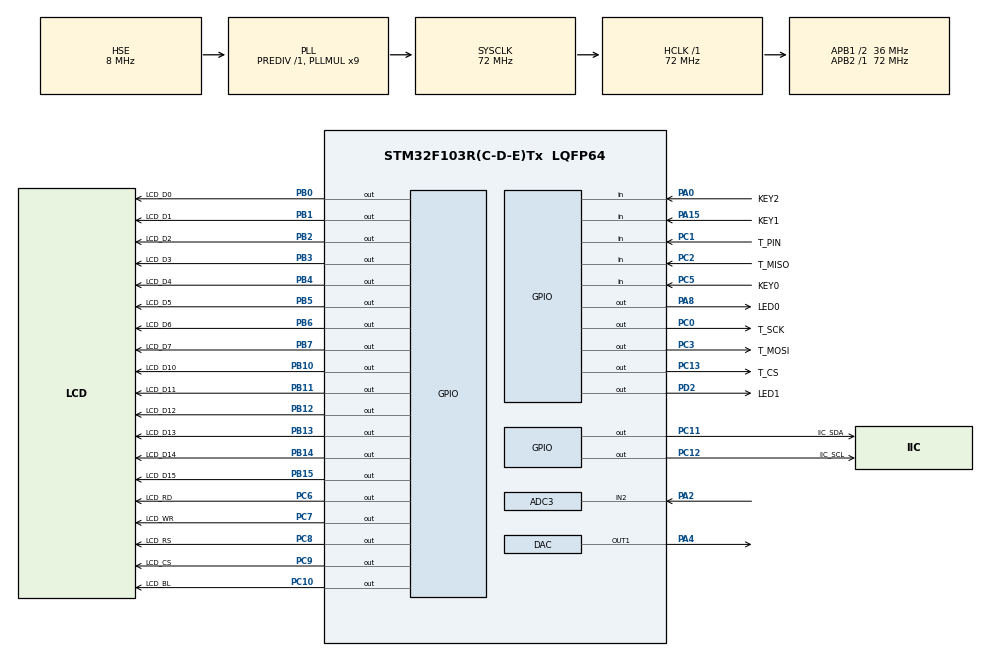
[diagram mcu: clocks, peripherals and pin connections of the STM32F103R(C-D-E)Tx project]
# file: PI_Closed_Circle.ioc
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ADC3.Channel-2\#ChannelRegularConversion=ADC_CHANNEL_2
ADC3.ContinuousConvMode=DISABLE
ADC3.DataAlign=ADC_DATAALIGN_RIGHT
ADC3.ExternalTrigConv=ADC_EXTERNALTRIGCONV_T3_CC1
ADC3.NbrOfConversion=1
ADC3.NbrOfConversionFlag=1
ADC3.Rank-2\#ChannelRegularConversion=1
ADC3.SamplingTime-2\#ChannelRegularConversion=ADC_SAMPLETIME_239CYCLES_5
DAC.DAC_OutputBuffer=DAC_OUTPUTBUFFER_DISABLE
DAC.DAC_Trigger=DAC_TRIGGER_T7_TRGO
Dma.ADC3.1.Direction=DMA_PERIPH_TO_MEMORY
Dma.ADC3.1.Instance=DMA2_Channel5
Dma.ADC3.1.MemDataAlignment=DMA_MDATAALIGN_HALFWORD
Dma.ADC3.1.MemInc=DMA_MINC_ENABLE
Dma.ADC3.1.Mode=DMA_CIRCULAR
Dma.ADC3.1.PeriphDataAlignment=DMA_PDATAALIGN_HALFWORD
Dma.ADC3.1.PeriphInc=DMA_PINC_DISABLE
Dma.ADC3.1.Priority=DMA_PRIORITY_LOW
Dma.DAC_CH1.0.Direction=DMA_MEMORY_TO_PERIPH
Dma.DAC_CH1.0.Instance=DMA2_Channel3
Dma.DAC_CH1.0.MemDataAlignment=DMA_MDATAALIGN_HALFWORD
Dma.DAC_CH1.0.MemInc=DMA_MINC_ENABLE
Dma.DAC_CH1.0.Mode=DMA_CIRCULAR
Dma.DAC_CH1.0.PeriphDataAlignment=DMA_PDATAALIGN_HALFWORD
Dma.DAC_CH1.0.PeriphInc=DMA_PINC_DISABLE
Dma.DAC_CH1.0.Priority=DMA_PRIORITY_LOW
Dma.Request0=DAC_CH1
Dma.Request1=ADC3
Mcu.Family=STM32F1
Mcu.Name=STM32F103R(C-D-E)Tx
Mcu.Package=LQFP64
NVIC.DMA2_Channel3_IRQn=true\:0\:0\:false\:false\:true\:false\:true
NVIC.DMA2_Channel4_5_IRQn=true\:0\:0\:false\:false\:true\:false\:true
NVIC.PriorityGroup=NVIC_PRIORITYGROUP_4
PA0-WKUP.GPIO_Label=KEY2
PA0-WKUP.GPIO_PuPd=GPIO_PULLDOWN
PA0-WKUP.Signal=GPIO_Input
PA13.Mode=Serial_Wire
PA13.Signal=SYS_JTMS-SWDIO
PA14.Mode=Serial_Wire
PA14.Signal=SYS_JTCK-SWCLK
PA15.GPIO_Label=KEY1
PA15.GPIO_PuPd=GPIO_PULLUP
PA15.Signal=GPIO_Input
PA2.Signal=ADCx_IN2
PA4.Signal=COMP_DAC1_group
PA8.GPIO_Label=LED0
PA8.GPIO_PuPd=GPIO_PULLUP
PA8.GPIO_Speed=GPIO_SPEED_FREQ_HIGH
PA8.PinState=GPIO_PIN_SET
PA8.Signal=GPIO_Output
PB0.GPIO_Label=LCD_D0
PB0.GPIO_PuPd=GPIO_PULLUP
PB0.GPIO_Speed=GPIO_SPEED_FREQ_HIGH
PB0.Signal=GPIO_Output
PB1.GPIO_Label=LCD_D1
PB1.GPIO_PuPd=GPIO_PULLUP
PB1.GPIO_Speed=GPIO_SPEED_FREQ_HIGH
PB1.Signal=GPIO_Output
PB10.GPIO_Label=LCD_D10
PB10.GPIO_PuPd=GPIO_PULLUP
PB10.GPIO_Speed=GPIO_SPEED_FREQ_HIGH
PB10.Signal=GPIO_Output
PB11.GPIO_Label=LCD_D11
PB11.GPIO_PuPd=GPIO_PULLUP
PB11.GPIO_Speed=GPIO_SPEED_FREQ_HIGH
PB11.Signal=GPIO_Output
PB12.GPIO_Label=LCD_D12
PB12.GPIO_PuPd=GPIO_PULLUP
PB12.GPIO_Speed=GPIO_SPEED_FREQ_HIGH
PB12.Signal=GPIO_Output
PB13.GPIO_Label=LCD_D13
PB13.GPIO_PuPd=GPIO_PULLUP
PB13.GPIO_Speed=GPIO_SPEED_FREQ_HIGH
PB13.Signal=GPIO_Output
PB14.GPIO_Label=LCD_D14
PB14.GPIO_PuPd=GPIO_PULLUP
PB14.GPIO_Speed=GPIO_SPEED_FREQ_HIGH
PB14.Signal=GPIO_Output
PB15.GPIO_Label=LCD_D15
PB15.GPIO_PuPd=GPIO_PULLUP
PB15.GPIO_Speed=GPIO_SPEED_FREQ_HIGH
PB15.Signal=GPIO_Output
PB2.GPIO_Label=LCD_D2
PB2.GPIO_PuPd=GPIO_PULLUP
PB2.GPIO_Speed=GPIO_SPEED_FREQ_HIGH
PB2.Signal=GPIO_Output
PB3.GPIO_Label=LCD_D3
PB3.GPIO_PuPd=GPIO_PULLUP
PB3.GPIO_Speed=GPIO_SPEED_FREQ_HIGH
PB3.Signal=GPIO_Output
PB4.GPIO_Label=LCD_D4
PB4.GPIO_PuPd=GPIO_PULLUP
PB4.GPIO_Speed=GPIO_SPEED_FREQ_HIGH
PB4.Signal=GPIO_Output
PB5.GPIO_Label=LCD_D5
PB5.GPIO_PuPd=GPIO_PULLUP
PB5.GPIO_Speed=GPIO_SPEED_FREQ_HIGH
PB5.Signal=GPIO_Output
PB6.GPIO_Label=LCD_D6
PB6.GPIO_PuPd=GPIO_PULLUP
PB6.GPIO_Speed=GPIO_SPEED_FREQ_HIGH
PB6.Signal=GPIO_Output
PB7.GPIO_Label=LCD_D7
PB7.GPIO_PuPd=GPIO_PULLUP
PB7.GPIO_Speed=GPIO_SPEED_FREQ_HIGH
PB7.Signal=GPIO_Output
PC0.GPIO_Label=T_SCK
PC0.GPIO_PuPd=GPIO_PULLUP
PC0.GPIO_Speed=GPIO_SPEED_FREQ_HIGH
PC0.Signal=GPIO_Output
PC1.GPIO_Label=T_PIN
PC1.GPIO_PuPd=GPIO_PULLUP
PC1.Signal=GPIO_Input
PC10.GPIO_Label=LCD_BL
PC10.GPIO_PuPd=GPIO_PULLUP
PC10.GPIO_Speed=GPIO_SPEED_FREQ_HIGH
PC10.Signal=GPIO_Output
PC11.GPIO_Label=IIC_SDA
PC11.GPIO_PuPd=GPIO_PULLUP
PC11.GPIO_Speed=GPIO_SPEED_FREQ_HIGH
PC11.Signal=GPIO_Output
PC12.GPIO_Label=IIC_SCL
PC12.GPIO_PuPd=GPIO_PULLUP
PC12.GPIO_Speed=GPIO_SPEED_FREQ_HIGH
PC12.Signal=GPIO_Output
PC13-TAMPER-RTC.GPIO_Label=T_CS
PC13-TAMPER-RTC.GPIO_PuPd=GPIO_PULLUP
PC13-TAMPER-RTC.GPIO_Speed=GPIO_SPEED_FREQ_HIGH
PC13-TAMPER-RTC.Signal=GPIO_Output
PC2.GPIO_Label=T_MISO
PC2.GPIO_PuPd=GPIO_PULLUP
PC2.Signal=GPIO_Input
PC3.GPIO_Label=T_MOSI
PC3.GPIO_PuPd=GPIO_PULLUP
PC3.GPIO_Speed=GPIO_SPEED_FREQ_HIGH
PC3.Signal=GPIO_Output
PC5.GPIO_Label=KEY0
PC5.GPIO_PuPd=GPIO_PULLUP
PC5.Signal=GPIO_Input
PC6.GPIO_Label=LCD_RD
PC6.GPIO_PuPd=GPIO_PULLUP
PC6.GPIO_Speed=GPIO_SPEED_FREQ_HIGH
PC6.Signal=GPIO_Output
PC7.GPIO_Label=LCD_WR
PC7.GPIO_PuPd=GPIO_PULLUP
PC7.GPIO_Speed=GPIO_SPEED_FREQ_HIGH
PC7.Signal=GPIO_Output
PC8.GPIO_Label=LCD_RS
PC8.GPIO_PuPd=GPIO_PULLUP
PC8.GPIO_Speed=GPIO_SPEED_FREQ_HIGH
PC8.Signal=GPIO_Output
PC9.GPIO_Label=LCD_CS
PC9.GPIO_PuPd=GPIO_PULLUP
PC9.GPIO_Speed=GPIO_SPEED_FREQ_HIGH
PC9.Signal=GPIO_Output
PD0-OSC_IN.Mode=HSE-External-Oscillator
PD0-OSC_IN.Signal=RCC_OSC_IN
PD1-OSC_OUT.Mode=HSE-External-Oscillator
PD1-OSC_OUT.Signal=RCC_OSC_OUT
PD2.GPIO_Label=LED1
PD2.GPIO_PuPd=GPIO_PULLUP
PD2.GPIO_Speed=GPIO_SPEED_FREQ_HIGH
PD2.PinState=GPIO_PIN_SET
PD2.Signal=GPIO_Output
ProjectManager.HeapSize=0x200
ProjectManager.StackSize=0x400
ProjectManager.TargetToolchain=MDK-ARM V5.32
RCC.ADCPresc=RCC_ADCPCLK2_DIV6
RCC.AHBFreq_Value=72000000
RCC.APB1CLKDivider=RCC_HCLK_DIV2
RCC.APB1Freq_Value=36000000
RCC.APB1TimFreq_Value=72000000
RCC.APB2Freq_Value=72000000
RCC.APB2TimFreq_Value=72000000
RCC.HCLKFreq_Value=72000000
RCC.PLLMUL=RCC_PLL_MUL9
RCC.PLLSourceVirtual=RCC_PLLSOURCE_HSE
RCC.SYSCLKFreq_VALUE=72000000
RCC.SYSCLKSource=RCC_SYSCLKSOURCE_PLLCLK
RCC.USBFreq_Value=72000000
SH.ADCx_IN2.0=ADC3_IN2,IN2
SH.COMP_DAC1_group.0=DAC_OUT1,DAC_OUT1
TIM3.Channel-PWM\ Generation1\ No\ Output=TIM_CHANNEL_1
TIM3.OCPolarity_1=TIM_OCPOLARITY_HIGH
TIM3.Period=71
TIM3.Prescaler=20
TIM3.Pulse-PWM\ Generation1\ No\ Output=36
TIM7.AutoReloadPreload=TIM_AUTORELOAD_PRELOAD_ENABLE
TIM7.Period=1199
TIM7.Prescaler=11
TIM7.TIM_MasterOutputTrigger=TIM_TRGO_UPDATE
VP_TIM3_VS_no_output1.Mode=PWM Generation1 No Output
VP_TIM7_VS_ClockSourceINT.Mode=Enable_Timer
board=custom

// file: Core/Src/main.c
/* USER CODE BEGIN Header */
/**
  ******************************************************************************
  * @file           : main.c
  * @brief          : Main program body
  ******************************************************************************
  * @attention
  *
  * <h2><center>&copy; Copyright (c) 2021 STMicroelectronics.
  * All rights reserved.</center></h2>
  *
  * This software component is licensed by ST under BSD 3-Clause license,
  * the "License"; You may not use this file except in compliance with the
  * License. You may obtain a copy of the License at:
  *                        opensource.org/licenses/BSD-3-Clause
  *
  ******************************************************************************
  */
/* USER CODE END Header */
#include "main.h"
#include "adc.h"
#include "dac.h"
#include "dma.h"
#include "tim.h"
#include "gpio.h"

/* USER CODE BEGIN Includes */
#include "base.h"
#include "lcd.h"
#include "24cxx.h"
#include "touch.h"
#include "math.h"
#include "stm32_dsp.h"
#include "table_fft.h"
#include "fft.h"
/* USER CODE END Includes */

/* USER CODE BEGIN PD */
void Set_DAC(float v);
void DAC1_Set_Vol(u16 vol);
void SineWave_Data( u16 num,uint32_t *D,float U);
void Key_staset(u16 x,u16 y,u8 keyx,u8 sta);//触摸屏按键捕获状态函数
u8 Get_key(u16 x,u16 y);					//触摸屏按键获取函数
void Function(void);							//功能实现
void UI(void);									//界面
/* USER CODE END PD */

/* USER CODE BEGIN PM */
#define PI 3.14159265358979
/* USER CODE END PM */

/* USER CODE BEGIN PV */
u8 KEY=0;
u8 KEY_TOUCH=0;

u16 ADC_value[NPT];
u16 ADC_value_convert[NPT];
int ADC_value_convert_c[NPT];
int ADC_value_self[NPT];
int i;
u16 j;
u16 Max_Val=0;
u16 Row;					//行，数组定位
u16 Freq;					//频率
uint32_t AD_Total=0;		//ADC的单次DMA采集信号总和
uint32_t AD_Ave;			//AD采集平均值
uint32_t AD_Peak;			//AD采集最大值
uint32_t AD_Peak_D;			//AD采集最小值
uint32_t AD_P_to_P;			//AD采集峰峰值
uint32_t AD_Peak_up;		//AD采集正幅值
uint32_t AD_DcCom;			//AD采集信号直流分量
uint32_t AD_RMS;			//AD采集RMS
int Count=0;
float Vpp_Rate;

uint32_t x=0;
float temp;

//u16 sinx[100]={2080,2209,2337,2463,2588,2711,2832,2949,3063,3172,3278,3378,3473,3563,3646,3723,
//3794,3858,3914,3964,4005,4039,4065,4083,4093,4095,4089,4075,4053,4023,3985,3940,
//3887,3827,3760,3686,3605,3519,3426,3328,3225,3118,3006,2891,2772,2650,2526,2400,
//2273,2144,2016,1887,1759,1633,1508,1385,1264,1147,1033,924,818,718,623,533,
//450,373,302,238,182,132,91,57,31,13,3,1,7,21,43,73,
//111,156,209,269,336,410,491,577,670,768,871,978,1090,1205,1324,1446,
//1570,1696,1823,1952};
u16 sinx[50]={2048,2305,2557,2802,3034,3251,3449,3625,3776,3900,3995,4059,4091,4091,4059,3995,
3900,3776,3625,3449,3251,3034,2802,2557,2305,2048,1791,1539,1294,1062,845,647,
471,320,196,101,37,5,5,37,101,196,320,471,647,845,1062,1294,
1539,1791};
int Sin_Flag=1;
int Sin_Psc[4]={23,23,23,1};
int Sin_Crr[4]={1199,119,11,1};

float rate;
int PSC=11,ARR;
short sinXX[100]={0,129,257,384,509,633,754,872,987,1097,1204,1305,1402,1493,1578,1657,
1729,1795,1853,1904,1948,1984,2012,2032,2044,2046,2044,2032,2012,1984,1948,1904,
1853,1795,1729,1657,1578,1493,1402,1305,1204,1097,987,872,754,633,509,384,
257,129,0,-129,-257,-384,-509,-633,-754,-872,-987,-1097,-1204,-1305,-1402,-1493,
-1578,-1657,-1729,-1795,-1853,-1904,-1948,-1984,-2012,-2032,-2044,-2046,-2044,-2032,-2012,-1984,
-1948,-1904,-1853,-1795,-1729,-1657,-1578,-1493,-1402,-1305,-1204,-1097,-987,-872,-754,-633,
-509,-384,-257,-129};
u16 sin_convert[100];

int Square[100]={2046,2046,2046,2046,2046,2046,2046,2046,2046,2046,
	2046,2046,2046,2046,2046,2046,2046,2046,2046,2046,
	2046,2046,2046,2046,2046,2046,2046,2046,2046,2046,
	2046,2046,2046,2046,2046,2046,2046,2046,2046,2046,
	2046,2046,2046,2046,2046,2046,2046,2046,2046,2046,
	-2046,-2046,-2046,-2046,-2046,-2046,-2046,-2046,-2046,-2046,
	-2046,-2046,-2046,-2046,-2046,-2046,-2046,-2046,-2046,-2046,
	-2046,-2046,-2046,-2046,-2046,-2046,-2046,-2046,-2046,-2046,
	-2046,-2046,-2046,-2046,-2046,-2046,-2046,-2046,-2046,-2046,
	-2046,-2046,-2046,-2046,-2046,-2046,-2046,-2046,-2046,-2046,};
u16 Square_convert[100];

int Triangle[100]={-2046,-1967,-1886,-1805,-1724,-1643,-1562,-1481,
	-1400,-1319,-1238,-1157,-1076,-995,-914,-833,-752,-671,-590,
	-509,-428,-347,-266,-185,-104,-23,58,139,220,301,382,463,
	544,625,706,787,868,949,1030,1111,1192,1273,1354,1435,1516,
	1597,1678,1759,1840,1921,204,1967,1886,1805,1724,1643,
	1562,1481,1400,1319,1238,1157,1076,995,914,833,752,671,
	590,509,428,347,266,185,104,23,-58,-139,-220,-301,-382,
	-463,-544,-625,-706,-787,-868,-949,-1030,-1111,-1192,
-1273,-1354,-1435,-1516,-1597,-1678,-1759,-1840,-1921};
u16 Triangle_convert[100];

int Jag[100]={-2048,-2007,-1966,-1925,-1884,-1843,-1802,-1761,-1720,
	-1679,-1638,-1597,-1556,-1515,-1474,-1433,-1392,
	-1351,-1310,-1269,-1228,-1187,-1146,-1105,-1064,
	-1023,-982,-941,-900,-859,-818,-777,-736,-695,
	-654,-613,-572,-531,-490,-449,-408,-367,-326,
	-285,-244,-203,-162,-121,-80,-39,2,43,84,125,
	166,207,248,289,330,371,412,453,494,535,576,
	617,658,699,740,781,822,863,904,945,986,1027,
	1068,1109,1150,1191,1232,1273,1314,1355,1396,
	1437,1478,1519,1560,1601,1642,1683,1724,1765,1806,
	1847,1888,1929,1970,2011};
u16 Jag_convert[100];
/* USER CODE END PV */

void SystemClock_Config(void);

int main(void)
{

  /* MCU Configuration--------------------------------------------------------*/

  /* Reset of all peripherals, Initializes the Flash interface and the Systick. */
  HAL_Init();

  /* Configure the system clock */
  SystemClock_Config();

  /* Initialize all configured peripherals */
  MX_GPIO_Init();
  MX_DMA_Init();
  MX_DAC_Init();
  MX_ADC3_Init();
  MX_TIM3_Init();
  MX_TIM7_Init();
  /* USER CODE BEGIN 2 */
  delay_init(72);
  LCD_Init();							//LCD屏初始化
  tp_dev.init();				   		//触摸屏初始化

  HAL_TIM_Base_Start(&htim7);
  HAL_ADC_Start_DMA(&hadc3,(uint32_t*)&ADC_value,NPT);					//开启ADC3的DMA通道
  HAL_DAC_Start_DMA(&hdac,DAC1_CHANNEL_1,(uint32_t*)sinx,50,DAC_ALIGN_12B_R);		//开启DAC通道1的DMA
  HAL_TIM_Base_Start(&htim3);
  HAL_TIM_PWM_Start(&htim3,TIM_CHANNEL_1);

  UI();

  HAL_DAC_SetValue(&hdac,DAC_CHANNEL_1,DAC_ALIGN_12B_R,2048);		//设置DA初始值为0
  AD_Peak=ADC_value[0];
  AD_Peak_D=ADC_value[0];
  /* USER CODE END 2 */

  /* Infinite loop */
  while (1)
  {

    /* USER CODE BEGIN 3 */
	  Function();
  }
  /* USER CODE END 3 */
}

void SystemClock_Config(void)
{
  RCC_OscInitTypeDef RCC_OscInitStruct = {0};
  RCC_ClkInitTypeDef RCC_ClkInitStruct = {0};
  RCC_PeriphCLKInitTypeDef PeriphClkInit = {0};

  /** Initializes the RCC Oscillators according to the specified parameters
  * in the RCC_OscInitTypeDef structure.
  */
  RCC_OscInitStruct.OscillatorType = RCC_OSCILLATORTYPE_HSE;
  RCC_OscInitStruct.HSEState = RCC_HSE_ON;
  RCC_OscInitStruct.HSEPredivValue = RCC_HSE_PREDIV_DIV1;
  RCC_OscInitStruct.HSIState = RCC_HSI_ON;
  RCC_OscInitStruct.PLL.PLLState = RCC_PLL_ON;
  RCC_OscInitStruct.PLL.PLLSource = RCC_PLLSOURCE_HSE;
  RCC_OscInitStruct.PLL.PLLMUL = RCC_PLL_MUL9;
  if (HAL_RCC_OscConfig(&RCC_OscInitStruct) != HAL_OK)
  {
    Error_Handler();
  }
  /** Initializes the CPU, AHB and APB buses clocks
  */
  RCC_ClkInitStruct.ClockType = RCC_CLOCKTYPE_HCLK|RCC_CLOCKTYPE_SYSCLK
                              |RCC_CLOCKTYPE_PCLK1|RCC_CLOCKTYPE_PCLK2;
  RCC_ClkInitStruct.SYSCLKSource = RCC_SYSCLKSOURCE_PLLCLK;
  RCC_ClkInitStruct.AHBCLKDivider = RCC_SYSCLK_DIV1;
  RCC_ClkInitStruct.APB1CLKDivider = RCC_HCLK_DIV2;
  RCC_ClkInitStruct.APB2CLKDivider = RCC_HCLK_DIV1;

  if (HAL_RCC_ClockConfig(&RCC_ClkInitStruct, FLASH_LATENCY_2) != HAL_OK)
  {
    Error_Handler();
  }
  PeriphClkInit.PeriphClockSelection = RCC_PERIPHCLK_ADC;
  PeriphClkInit.AdcClockSelection = RCC_ADCPCLK2_DIV6;
  if (HAL_RCCEx_PeriphCLKConfig(&PeriphClkInit) != HAL_OK)
  {
    Error_Handler();
  }
}

/* USER CODE BEGIN 4 */
void Function(void)
{
	KEY=KEY_Scan(0);
	KEY_TOUCH=Get_key(0,160);
	if(KEY==KEY0_PRES||KEY_TOUCH==7)			//改变正弦波频率
	{
		_LED0=!_LED0;
		HAL_DAC_Stop_DMA(&hdac,DAC1_CHANNEL_1);
		HAL_DAC_Start_DMA(&hdac,DAC1_CHANNEL_1,(uint32_t*)sinx,50,DAC_ALIGN_12B_R);		//开启DAC通道1的DMA
		__HAL_TIM_SET_PRESCALER(&htim7,Sin_Psc[Sin_Flag]);
		__HAL_TIM_SET_AUTORELOAD(&htim7,Sin_Crr[Sin_Flag]);
		Sin_Flag++;
		if(Sin_Flag==4)
			Sin_Flag=0;
	}
	for(i=0,AD_Total=0;i<NPT;i++)
	{
		if(AD_Peak<ADC_value[i])
			AD_Peak=ADC_value[i];						//求出波形峰最大值
		AD_Total+=ADC_value[i];
	}
	for(i=0;i<NPT;i++)
	{
		if(AD_Peak>ADC_value[i])
			AD_Peak_D=ADC_value[i];
	}
	AD_P_to_P=AD_Peak-AD_Peak_D;						//AD采集电压峰峰值
	AD_Ave=AD_Total/1024;								//AD采集电压平均值
	AD_Peak_up=AD_Peak-2048;							//AD采集电压峰值
//	for(i=0,AD_Total=0;i<NPT;i++)
//	{
//		lBufInArray[i]=ADC_value[i]<<16;
//	}
	for(j=2;j<NPT/2;j++)								//测量AD采集波形频率
	{
		if(lBufMagArray[j]>Max_Val)
		{
			Max_Val=lBufMagArray[j];
			Row=j;
		}
	}
	Freq=10000.0*Row/1024;

	cr4_fft_1024_stm32(lBufOutArray, lBufInArray, NPT);
	GetPowerMag();							//计算各次谐波幅值

////*********波形DA输出****************
	if(KEY==WKUP_PRES||KEY_TOUCH==6)					//波形输出
	{
		HAL_DAC_Stop_DMA(&hdac,DAC1_CHANNEL_1);
		__HAL_TIM_SET_PRESCALER(&htim7,23);
		__HAL_TIM_SET_AUTORELOAD(&htim7,299);
		HAL_DAC_Start_DMA(&hdac,DAC1_CHANNEL_1,(uint32_t*)ADC_value,NPT,DAC_ALIGN_12B_R);
	}
////************************************
//***********Vpp放大缩小/自适应*********
	if(KEY_TOUCH==1)				//Vpp放大5倍
	{
		Vpp_Rate=AD_Peak_up*1000/2048;
		if(Vpp_Rate/1000<=0.2)
		{
			HAL_DAC_Stop_DMA(&hdac,DAC1_CHANNEL_1);
			for(i=0;i<NPT;i++)
				ADC_value_convert_c[i]=ADC_value[i];
			for(i=0;i<NPT;i++)
				ADC_value_convert_c[i]=(ADC_value_convert_c[i]-2047)*5+2047;
			for(i=0;i<NPT;i++)
				ADC_value_convert[i]=ADC_value_convert_c[i];
			HAL_DAC_Start_DMA(&hdac,DAC1_CHANNEL_1,(uint32_t*)ADC_value_convert,NPT,DAC_ALIGN_12B_R);
			LCD_ShowString(20,80,300,16,16,"Vpp_amplificate 5   ");
		}
		else
			LCD_ShowString(20,80,300,16,16,"Can't amplificate 5   ");
	}
	else if(KEY_TOUCH==2)			//Vpp放大10倍
	{
		Vpp_Rate=AD_Peak_up*1000/2048;
		if(Vpp_Rate/1000<=0.1)
		{
			HAL_DAC_Stop_DMA(&hdac,DAC1_CHANNEL_1);
			for(i=0;i<NPT;i++)
				ADC_value_convert_c[i]=ADC_value[i];
			for(i=0;i<NPT;i++)
				ADC_value_convert_c[i]=(ADC_value_convert_c[i]-2047)*10+2047;
			for(i=0;i<NPT;i++)
				ADC_value_convert[i]=ADC_value_convert_c[i];
			HAL_DAC_Start_DMA(&hdac,DAC1_CHANNEL_1,(uint32_t*)ADC_value_convert,NPT,DAC_ALIGN_12B_R);
			LCD_ShowString(20,80,300,16,16,"Vpp_amplificate 10   ");
		}
		else
			LCD_ShowString(20,80,300,16,16,"Can't amplificate 10");
	}
	else if(KEY_TOUCH==3)			//Vpp缩小5倍
	{
		Vpp_Rate=AD_Peak_up*1000/2048;
		if(Vpp_Rate/1000>=0.083)
		{
			HAL_DAC_Stop_DMA(&hdac,DAC1_CHANNEL_1);
			for(i=0;i<NPT;i++)
				ADC_value_convert_c[i]=ADC_value[i];
			for(i=0;i<NPT;i++)
				ADC_value_convert_c[i]=(ADC_value_convert_c[i]-2047)/5+2047;
			for(i=0;i<NPT;i++)
				ADC_value_convert[i]=ADC_value_convert_c[i];
			HAL_DAC_Start_DMA(&hdac,DAC1_CHANNEL_1,(uint32_t*)ADC_value_convert,NPT,DAC_ALIGN_12B_R);
			LCD_ShowString(20,80,300,16,16,"Vpp_narrow 5         ");
		}
		else
			LCD_ShowString(20,80,300,16,16,"Can't Vpp_narrow 5   ");

	}
	else if(KEY_TOUCH==4)			//Vpp缩小10倍
	{
		Vpp_Rate=AD_Peak_up*1000/2048;
		if(Vpp_Rate/1000>=0.167)
		{
			HAL_DAC_Stop_DMA(&hdac,DAC1_CHANNEL_1);
			for(i=0;i<NPT;i++)
				ADC_value_convert_c[i]=ADC_value[i];
			for(i=0;i<NPT;i++)
				ADC_value_convert_c[i]=(ADC_value_convert_c[i]-2047)/10+2047;
			for(i=0;i<NPT;i++)
				ADC_value_convert[i]=ADC_value_convert_c[i];
			HAL_DAC_Start_DMA(&hdac,DAC1_CHANNEL_1,(uint32_t*)ADC_value_convert,NPT,DAC_ALIGN_12B_R);
			LCD_ShowString(20,80,300,16,16,"Vpp_narrow 10       ");
		}
		else
			LCD_ShowString(20,80,300,16,16,"Can't Vpp_narrow 10  ");
	}
	else if(KEY_TOUCH==5)			//自适应
	{
		Vpp_Rate=AD_Peak_up*1000/2048*0.001;
		HAL_DAC_Stop_DMA(&hdac,DAC1_CHANNEL_1);
		for(i=0;i<NPT;i++)
			ADC_value_self[i]=ADC_value[i];
		for(i=0;i<NPT;i++)
			ADC_value_convert_c[i]=(ADC_value_self[i]-2047)*(1/Vpp_Rate)+2047;
		for(i=0;i<NPT;i++)
			ADC_value_convert[i]=ADC_value_convert_c[i];
		HAL_DAC_Start_DMA(&hdac,DAC1_CHANNEL_1,(uint32_t*)ADC_value_convert,NPT,DAC_ALIGN_12B_R);
		LCD_ShowString(20,80,300,16,16,"Self-Adaptation        ");
	}
//**************************************
//**********************************
//直流分量计算
	if(Wave==1)					//锯齿波
	{	AD_DcCom=2048;}
	else if(Wave==2)			//方波
	{	AD_DcCom=2048;	}
	else if(Wave==3)			//三角波
	{	AD_DcCom=2048;	}
	else if(Wave==4)			//正弦波
	{	AD_DcCom=2048;	}

	LCD_ShowxNum(50,20,(u32)Freq,4,16,0);
	LCD_ShowxNum(60,40,(u32)((AD_Peak-2048)*2*3.3/4096),1,16,0);
	LCD_ShowxNum(80,40,(u32)((AD_Peak-2048)*2*3300/4096%1000-100),3,16,0);
	LCD_ShowxNum(80,60,(u32)(AD_DcCom*3.3/4096),1,16,0);
	LCD_ShowxNum(100,60,(u32)(AD_DcCom*3300/4096%1000),3,16,0);

	x=HAL_DAC_GetValue(&hdac,DAC_CHANNEL_1);	//读取前面设置DAC的值
	LCD_ShowxNum(50,100,x,4,16,0);     	    	//显示DAC寄存器值
	temp=(float)x*(3.3/4096);			    	//得到DAC电压值
	x=temp;
	LCD_ShowxNum(60,120,temp,1,16,0);     	    //显示电压值整数部分
	temp-=x;
	temp*=1000;
	LCD_ShowxNum(80,120,temp,3,16,0X80); 	    //显示电压值的小数部分

	LCD_ShowxNum(60,140,(u32)(AD_Ave*3.3/4096),1,16,0);			//ADC采集电压整数部分
	LCD_ShowxNum(80,140,(u32)(AD_Ave*3300/4096%1000),3,16,0);	//ADC采集电压小数部分

	lcd_print_fft(lBufMagArray);			//波形识别cr4_fft_1024_stm32
  }
void UI(void)
{
	POINT_COLOR=BLUE;				//以下为LCD屏显示
	LCD_ShowString(20,00,200,16,16,"WaveForm:");
	LCD_ShowString(20,20,200,16,16,"Fre:");
	LCD_ShowString(85,20,200,16,16,"Hz");
	LCD_ShowString(20,40,200,16,16,"Peak:");
	LCD_ShowString(70,40,200,16,16,".");
	LCD_ShowString(110,40,200,16,16,"V");
	LCD_ShowString(20,60,200,16,16,"Dc_Com:");
	LCD_ShowString(90,60,30,16,16,".");
	LCD_ShowString(130,60,200,16,16,"V");

	LCD_ShowString(110,140,200,16,16,"V");
	LCD_ShowString(70,140,30,16,16,".");
	LCD_ShowString(12,140,200,16,16," ADC:");

	LCD_ShowString(20,100,200,16,16,"VAL:");
	LCD_ShowString(20,120,200,16,16,"DAC:");
	LCD_ShowString(70,120,30,16,16,".");
	LCD_ShowString(110,120,200,16,16,"V");

	LCD_DrawRectangle(0,160,60,240);
	LCD_DrawRectangle(60,160,120,240);
	LCD_DrawRectangle(120,160,180,240);
	LCD_DrawRectangle(180,160,240,240);
	LCD_DrawRectangle(0,240,60,320);
	LCD_DrawRectangle(60,240,120,320);
	LCD_DrawRectangle(120,240,180,320);
	LCD_DrawRectangle(180,240,240,320);
	LCD_ShowString(15,190,120,80,24,"5U");
	LCD_ShowString(75,190,120,80,24,"10U");
	LCD_ShowString(135,190,120,80,24,"5D");
	LCD_ShowString(195,190,120,80,24,"10D");
	LCD_ShowString(15,270,120,80,24,"S_A");
	LCD_ShowString(75,270,120,80,24,"Out");
	LCD_ShowString(135,270,120,80,24,"Sin");
	LCD_ShowString(195,270,120,80,24,"DDS");
}
//触摸屏按键捕获状态函数
void Key_staset(u16 x,u16 y,u8 keyx,u8 sta)
{
	u16 i=keyx/4,j=keyx%4;		//j:横轴|i:竖轴
	if(keyx>9) return;
	if(sta&&keyx!=9)
		LCD_Fill(x+j*60+1,y+i*80+1,x+j*60+59,y+i*80+79,BLUE);	//当区域被按下区域被填充为红色
	else if(keyx!=9)
		LCD_Fill(x+j*60+1,y+i*80+1,x+j*60+59,y+i*80+79,WHITE);

	if(keyx!=9)		//区域被填充后重新显示
	{
		LCD_ShowString(15,190,120,80,24,"5U");
		LCD_ShowString(75,190,120,80,24,"10U");
		LCD_ShowString(135,190,120,80,24,"5D");
		LCD_ShowString(195,190,120,80,24,"10D");
		LCD_ShowString(15,270,120,80,24,"S_A");
		LCD_ShowString(75,270,120,80,24,"Out");
		LCD_ShowString(135,270,120,80,24,"Sin");
		LCD_ShowString(195,270,120,80,24,"DDS");
	}
}
//触摸屏按键获取函数
u8 Get_key(u16 x,u16 y)
{
	u16 i,j;
	static u8 Key_x=0;
	u8 key=0;
	tp_dev.scan(0);		//触摸屏扫描
	if(tp_dev.sta&TP_PRES_DOWN)		//触摸屏被按下
	{
		for(i=0;i<2;i++)
		{
			for(j=0;j<4;j++)
			{
				if(tp_dev.x[0]<(x+j*60+60)&&tp_dev.x[0]>(x+j*60)&&tp_dev.y[0]<(y+i*80+80)&&tp_dev.y[0]>(y+i*80))
				{
					key=i*4+j+1;		//i代表行，每一行变化需要两个值j代表列，每一列变化只需要变化一个值
					break;
				}
			}
			if(key)
			{
				if(Key_x==key) key=0;
				else
				{
					Key_staset(x,y,Key_x-1,0);
					Key_x=key;
					Key_staset(x,y,Key_x-1,1);
				}
				break;
			}
		}
	}
	else if(Key_x)		//每次从0开始，不记录上次的状态
	{
		Key_staset(x,y,Key_x-1,0);
		Key_x=0;
	}
	return key;
}
void HAL_ADC_ConvCpltCallback(ADC_HandleTypeDef* hadc)
{
	if(hadc==&hadc3)
	{
//		HAL_ADC_Stop_DMA(&hadc3);
//		__HAL_ADC_CLEAR_FLAG(&hadc3, ADC_FLAG_STRT);		//清除ADC挂起的标志
		for(i=0,AD_Total=0;i<NPT;i++)
		{
			lBufInArray[i]=ADC_value[i]<<16;
		}
//		HAL_ADC_Start_DMA(&hadc3,(uint32_t*)&ADC_value,NPT);
	}
}
//num:要在一个正弦波中采集多少点
//*D:创建的一个数组用来存放正弦波各个点的数值的
//U:输出电压的峰值(0~1.5V)
//Pi:3.1415926 自己定义
void SineWave_Data( u16 num,uint32_t *D,float U)
{
    u16 i;
    for( i=0;i<num;i++)
    {
        D[i]=(uint32_t)((U*sin(( 1.0*i/(num-1))*2*PI)+U)*4095/3.3);
    }
}
void Set_DAC(float v)
{
	HAL_DAC_SetValue(&hdac,DAC_CHANNEL_1,DAC_ALIGN_12B_R,(uint32_t)(v*4096/3.3));
}

//设置通道1输出电压
//vol:0~3300,代表0~3.3V
void DAC1_Set_Vol(u16 vol)
{
	double temp=vol;
	temp/=1000;
	temp=temp*4096/3.3;
    HAL_DAC_SetValue(&hdac,DAC_CHANNEL_1,DAC_ALIGN_12B_R,temp);//12位右对齐数据格式设置DAC值
}
/* USER CODE END 4 */

void Error_Handler(void)
{
  __disable_irq();
  while (1)
  {
  }
}

/************************ (C) COPYRIGHT STMicroelectronics *****END OF FILE****/
